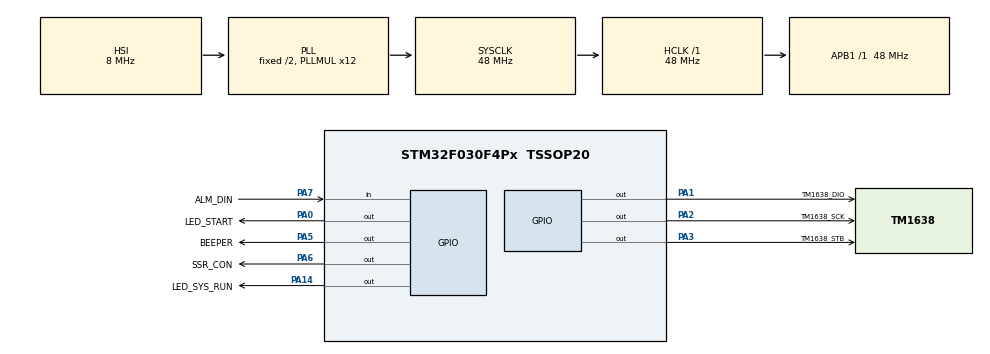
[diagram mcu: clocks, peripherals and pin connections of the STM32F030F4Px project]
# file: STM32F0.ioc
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FREERTOS.BinarySemaphores01=myBinarySem01,Dynamic,NULL;myBinarySem02,Dynamic,NULL
FREERTOS.CountingSemaphores01=myCountingSem01,1,Dynamic,NULL;myCountingSem02,2,Dynamic,NULL
FREERTOS.Mutexes01=myMutex01,Dynamic,NULL;myMutex02,Dynamic,NULL
FREERTOS.Tasks01=defaultTask,0,64,StartDefaultTask,Default,NULL,Dynamic,NULL,NULL;myTask01,1,64,sysControl,Default,NULL,Dynamic,NULL,NULL;myTask02,-3,64,segDisplay,Default,NULL,Dynamic,NULL,NULL
FREERTOS.configMINIMAL_STACK_SIZE=64
FREERTOS.configTOTAL_HEAP_SIZE=2048
FREERTOS.configUSE_COUNTING_SEMAPHORES=1
Mcu.Family=STM32F0
Mcu.Name=STM32F030F4Px
Mcu.Package=TSSOP20
NVIC.TIM1_BRK_UP_TRG_COM_IRQn=true\:0\:0\:false\:false\:true\:false
NVIC.TimeBase=TIM1_BRK_UP_TRG_COM_IRQn
NVIC.TimeBaseIP=TIM1
PA0.GPIO_Label=LED_START
PA0.GPIO_Speed=GPIO_SPEED_FREQ_HIGH
PA0.Signal=GPIO_Output
PA1.GPIO_Label=TM1638_DIO
PA1.GPIO_Speed=GPIO_SPEED_FREQ_HIGH
PA1.PinState=GPIO_PIN_SET
PA1.Signal=GPIO_Output
PA14.GPIO_Label=LED_SYS_RUN
PA14.GPIO_Speed=GPIO_SPEED_FREQ_HIGH
PA14.Signal=GPIO_Output
PA2.GPIO_Label=TM1638_SCK
PA2.GPIO_Speed=GPIO_SPEED_FREQ_HIGH
PA2.PinState=GPIO_PIN_SET
PA2.Signal=GPIO_Output
PA3.GPIO_Label=TM1638_STB
PA3.GPIO_Speed=GPIO_SPEED_FREQ_HIGH
PA3.PinState=GPIO_PIN_SET
PA3.Signal=GPIO_Output
PA5.GPIO_Label=BEEPER
PA5.GPIO_Speed=GPIO_SPEED_FREQ_HIGH
PA5.Signal=GPIO_Output
PA6.GPIO_Label=SSR_CON
PA6.GPIO_Speed=GPIO_SPEED_FREQ_HIGH
PA6.Signal=GPIO_Output
PA7.GPIO_Label=ALM_DIN
PA7.GPIO_PuPd=GPIO_PULLUP
PA7.Signal=GPIO_Input
ProjectManager.HeapSize=0x200
ProjectManager.StackSize=0x400
ProjectManager.TargetToolchain=MDK-ARM V5
RCC.AHBFreq_Value=48000000
RCC.APB1Freq_Value=48000000
RCC.APB1TimFreq_Value=48000000
RCC.HCLKFreq_Value=48000000
RCC.PLLMUL=RCC_PLL_MUL12
RCC.SYSCLKFreq_VALUE=48000000
RCC.SYSCLKSource=RCC_SYSCLKSOURCE_PLLCLK
VP_FREERTOS_VS_ENABLE.Mode=Enabled
VP_IWDG_VS_IWDG.Mode=IWDG_Activate
VP_SYS_VS_tim1.Mode=TIM1
board=STM32F0

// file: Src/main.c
/**
  ******************************************************************************
  * File Name          : main.c
  * Description        : Main program body
  ******************************************************************************
  * This notice applies to any and all portions of this file
  * that are not between comment pairs USER CODE BEGIN and
  * USER CODE END. Other portions of this file, whether
  * inserted by the user or by software development tools
  * are owned by their respective copyright owners.
  *
  * Copyright (c) 2017 STMicroelectronics International N.V.
  * All rights reserved.
  *
  * Redistribution and use in source and binary forms, with or without
  * modification, are permitted, provided that the following conditions are met:
  *
  * 1. Redistribution of source code must retain the above copyright notice,
  *    this list of conditions and the following disclaimer.
  * 2. Redistributions in binary form must reproduce the above copyright notice,
  *    this list of conditions and the following disclaimer in the documentation
  *    and/or other materials provided with the distribution.
  * 3. Neither the name of STMicroelectronics nor the names of other
  *    contributors to this software may be used to endorse or promote products
  *    derived from this software without specific written permission.
  * 4. This software, including modifications and/or derivative works of this
  *    software, must execute solely and exclusively on microcontroller or
  *    microprocessor devices manufactured by or for STMicroelectronics.
  * 5. Redistribution and use of this software other than as permitted under
  *    this license is void and will automatically terminate your rights under
  *    this license.
  *
  * THIS SOFTWARE IS PROVIDED BY STMICROELECTRONICS AND CONTRIBUTORS "AS IS"
  * AND ANY EXPRESS, IMPLIED OR STATUTORY WARRANTIES, INCLUDING, BUT NOT
  * LIMITED TO, THE IMPLIED WARRANTIES OF MERCHANTABILITY, FITNESS FOR A
  * PARTICULAR PURPOSE AND NON-INFRINGEMENT OF THIRD PARTY INTELLECTUAL PROPERTY
  * RIGHTS ARE DISCLAIMED TO THE FULLEST EXTENT PERMITTED BY LAW. IN NO EVENT
  * SHALL STMICROELECTRONICS OR CONTRIBUTORS BE LIABLE FOR ANY DIRECT, INDIRECT,
  * INCIDENTAL, SPECIAL, EXEMPLARY, OR CONSEQUENTIAL DAMAGES (INCLUDING, BUT NOT
  * LIMITED TO, PROCUREMENT OF SUBSTITUTE GOODS OR SERVICES; LOSS OF USE, DATA,
  * OR PROFITS; OR BUSINESS INTERRUPTION) HOWEVER CAUSED AND ON ANY THEORY OF
  * LIABILITY, WHETHER IN CONTRACT, STRICT LIABILITY, OR TORT (INCLUDING
  * NEGLIGENCE OR OTHERWISE) ARISING IN ANY WAY OUT OF THE USE OF THIS SOFTWARE,
  * EVEN IF ADVISED OF THE POSSIBILITY OF SUCH DAMAGE.
  *
  ******************************************************************************
  */
#include "main.h"
#include "stm32f0xx_hal.h"
#include "cmsis_os.h"
#include "iwdg.h"
#include "gpio.h"

/* USER CODE BEGIN Includes */
#include "tm1638.h"
/* USER CODE END Includes */

/* USER CODE BEGIN PV */
/* Private variables ---------------------------------------------------------*/

/* USER CODE END PV */

void SystemClock_Config(void);
void MX_FREERTOS_Init(void);

/* USER CODE BEGIN PFP */
/* Private function prototypes -----------------------------------------------*/

/* USER CODE END PFP */

int main(void)
{

  /* MCU Configuration----------------------------------------------------------*/

  /* Reset of all peripherals, Initializes the Flash interface and the Systick. */
  HAL_Init();

  /* Configure the system clock */
  SystemClock_Config();

  /* Initialize all configured peripherals */
  MX_GPIO_Init();
  MX_IWDG_Init();

  /* USER CODE BEGIN 2 */
	BEEP_OFF();
	SSR_OFF();

	TM1638_init();
  /* USER CODE END 2 */

  /* Call init function for freertos objects (in freertos.c) */
  MX_FREERTOS_Init();

  /* Start scheduler */
  osKernelStart();

  /* We should never get here as control is now taken by the scheduler */

  /* Infinite loop */
  while (1)
  {

  }

}

/** System Clock Configuration
*/
void SystemClock_Config(void)
{

  RCC_OscInitTypeDef RCC_OscInitStruct;
  RCC_ClkInitTypeDef RCC_ClkInitStruct;

    /**Initializes the CPU, AHB and APB busses clocks
    */
  RCC_OscInitStruct.OscillatorType = RCC_OSCILLATORTYPE_HSI|RCC_OSCILLATORTYPE_LSI;
  RCC_OscInitStruct.HSIState = RCC_HSI_ON;
  RCC_OscInitStruct.HSICalibrationValue = 16;
  RCC_OscInitStruct.LSIState = RCC_LSI_ON;
  RCC_OscInitStruct.PLL.PLLState = RCC_PLL_ON;
  RCC_OscInitStruct.PLL.PLLSource = RCC_PLLSOURCE_HSI;
  RCC_OscInitStruct.PLL.PLLMUL = RCC_PLL_MUL12;
  RCC_OscInitStruct.PLL.PREDIV = RCC_PREDIV_DIV1;
  if (HAL_RCC_OscConfig(&RCC_OscInitStruct) != HAL_OK)
  {
    _Error_Handler(__FILE__, __LINE__);
  }

    /**Initializes the CPU, AHB and APB busses clocks
    */
  RCC_ClkInitStruct.ClockType = RCC_CLOCKTYPE_HCLK|RCC_CLOCKTYPE_SYSCLK
                              |RCC_CLOCKTYPE_PCLK1;
  RCC_ClkInitStruct.SYSCLKSource = RCC_SYSCLKSOURCE_PLLCLK;
  RCC_ClkInitStruct.AHBCLKDivider = RCC_SYSCLK_DIV1;
  RCC_ClkInitStruct.APB1CLKDivider = RCC_HCLK_DIV1;

  if (HAL_RCC_ClockConfig(&RCC_ClkInitStruct, FLASH_LATENCY_1) != HAL_OK)
  {
    _Error_Handler(__FILE__, __LINE__);
  }

    /**Configure the Systick interrupt time
    */
  HAL_SYSTICK_Config(HAL_RCC_GetHCLKFreq()/1000);

    /**Configure the Systick
    */
  HAL_SYSTICK_CLKSourceConfig(SYSTICK_CLKSOURCE_HCLK);

  /* SysTick_IRQn interrupt configuration */
  HAL_NVIC_SetPriority(SysTick_IRQn, 3, 0);
}

void HAL_TIM_PeriodElapsedCallback(TIM_HandleTypeDef *htim)
{
  if (htim->Instance == TIM1) {
    HAL_IncTick();
  }
}

void _Error_Handler(char * file, int line)
{
  while(1)
  {
  }
}

/************************ (C) COPYRIGHT STMicroelectronics *****END OF FILE****/

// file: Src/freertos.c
/**
  ******************************************************************************
  * File Name          : freertos.c
  * Description        : Code for freertos applications
  ******************************************************************************
  * This notice applies to any and all portions of this file
  * that are not between comment pairs USER CODE BEGIN and
  * USER CODE END. Other portions of this file, whether
  * inserted by the user or by software development tools
  * are owned by their respective copyright owners.
  *
  * Copyright (c) 2017 STMicroelectronics International N.V.
  * All rights reserved.
  *
  * Redistribution and use in source and binary forms, with or without
  * modification, are permitted, provided that the following conditions are met:
  *
  * 1. Redistribution of source code must retain the above copyright notice,
  *    this list of conditions and the following disclaimer.
  * 2. Redistributions in binary form must reproduce the above copyright notice,
  *    this list of conditions and the following disclaimer in the documentation
  *    and/or other materials provided with the distribution.
  * 3. Neither the name of STMicroelectronics nor the names of other
  *    contributors to this software may be used to endorse or promote products
  *    derived from this software without specific written permission.
  * 4. This software, including modifications and/or derivative works of this
  *    software, must execute solely and exclusively on microcontroller or
  *    microprocessor devices manufactured by or for STMicroelectronics.
  * 5. Redistribution and use of this software other than as permitted under
  *    this license is void and will automatically terminate your rights under
  *    this license.
  *
  * THIS SOFTWARE IS PROVIDED BY STMICROELECTRONICS AND CONTRIBUTORS "AS IS"
  * AND ANY EXPRESS, IMPLIED OR STATUTORY WARRANTIES, INCLUDING, BUT NOT
  * LIMITED TO, THE IMPLIED WARRANTIES OF MERCHANTABILITY, FITNESS FOR A
  * PARTICULAR PURPOSE AND NON-INFRINGEMENT OF THIRD PARTY INTELLECTUAL PROPERTY
  * RIGHTS ARE DISCLAIMED TO THE FULLEST EXTENT PERMITTED BY LAW. IN NO EVENT
  * SHALL STMICROELECTRONICS OR CONTRIBUTORS BE LIABLE FOR ANY DIRECT, INDIRECT,
  * INCIDENTAL, SPECIAL, EXEMPLARY, OR CONSEQUENTIAL DAMAGES (INCLUDING, BUT NOT
  * LIMITED TO, PROCUREMENT OF SUBSTITUTE GOODS OR SERVICES; LOSS OF USE, DATA,
  * OR PROFITS; OR BUSINESS INTERRUPTION) HOWEVER CAUSED AND ON ANY THEORY OF
  * LIABILITY, WHETHER IN CONTRACT, STRICT LIABILITY, OR TORT (INCLUDING
  * NEGLIGENCE OR OTHERWISE) ARISING IN ANY WAY OUT OF THE USE OF THIS SOFTWARE,
  * EVEN IF ADVISED OF THE POSSIBILITY OF SUCH DAMAGE.
  *
  ******************************************************************************
  */

#include "FreeRTOS.h"
#include "task.h"
#include "cmsis_os.h"

/* USER CODE BEGIN Includes */
#include "TM1638.h"
/* USER CODE END Includes */

osThreadId defaultTaskHandle;
osThreadId myTask01Handle;
osThreadId myTask02Handle;
osMutexId myMutex01Handle;
osMutexId myMutex02Handle;
osSemaphoreId myBinarySem01Handle;
osSemaphoreId myBinarySem02Handle;
osSemaphoreId myCountingSem01Handle;
osSemaphoreId myCountingSem02Handle;

/* USER CODE BEGIN Variables */
extern  IWDG_HandleTypeDef hiwdg;
/* USER CODE END Variables */

void StartDefaultTask(void const * argument);
void sysControl(void const * argument);
void segDisplay(void const * argument);

void MX_FREERTOS_Init(void); /* (MISRA C 2004 rule 8.1) */

/* Hook prototypes */

/* Init FreeRTOS */

void MX_FREERTOS_Init(void) {

  /* Create the mutex(es) */
  /* definition and creation of myMutex01 */
  osMutexDef(myMutex01);
  myMutex01Handle = osMutexCreate(osMutex(myMutex01));

  /* definition and creation of myMutex02 */
  osMutexDef(myMutex02);
  myMutex02Handle = osMutexCreate(osMutex(myMutex02));

  /* Create the semaphores(s) */
  /* definition and creation of myBinarySem01 */
  osSemaphoreDef(myBinarySem01);
  myBinarySem01Handle = osSemaphoreCreate(osSemaphore(myBinarySem01), 1);

  /* definition and creation of myBinarySem02 */
  osSemaphoreDef(myBinarySem02);
  myBinarySem02Handle = osSemaphoreCreate(osSemaphore(myBinarySem02), 1);

  /* definition and creation of myCountingSem01 */
  osSemaphoreDef(myCountingSem01);
  myCountingSem01Handle = osSemaphoreCreate(osSemaphore(myCountingSem01), 1);

  /* definition and creation of myCountingSem02 */
  osSemaphoreDef(myCountingSem02);
  myCountingSem02Handle = osSemaphoreCreate(osSemaphore(myCountingSem02), 2);

  /* Create the thread(s) */
  /* definition and creation of defaultTask */
  osThreadDef(defaultTask, StartDefaultTask, osPriorityNormal, 0, 64);
  defaultTaskHandle = osThreadCreate(osThread(defaultTask), NULL);

  /* definition and creation of myTask01 */
  osThreadDef(myTask01, sysControl, osPriorityAboveNormal, 0, 64);
  myTask01Handle = osThreadCreate(osThread(myTask01), NULL);

  /* definition and creation of myTask02 */
  osThreadDef(myTask02, segDisplay, osPriorityIdle, 0, 64);
  myTask02Handle = osThreadCreate(osThread(myTask02), NULL);

}

/* StartDefaultTask function */
void StartDefaultTask(void const * argument)
{

  /* USER CODE BEGIN StartDefaultTask */
  /* Infinite loop */
  for(;;)
  {
		SYS_LED_BLINK();
		HAL_IWDG_Refresh(&hiwdg);
		osDelay(200);
  }
  /* USER CODE END StartDefaultTask */
}

/* sysControl function */
void sysControl(void const * argument)
{
  /* USER CODE BEGIN sysControl */
  /* Infinite loop */
  for(;;)
  {
		KeyScan(TM1638_getKey());
    osDelay(2);
  }
  /* USER CODE END sysControl */
}

/* segDisplay function */
void segDisplay(void const * argument)
{
  /* USER CODE BEGIN segDisplay */
  /* Infinite loop */
  for(;;)
  {
		KeyProcess();
		if(segDigit4_BlinkBit==0)
		{
			TM1638_DisplayValue(CurrentTimeVaule);
			osDelay(50);
		}
		else
		{
			DIGIT4_SEG7_Display(segDigit4_BlinkBit,CurrentTimeVaule);
			osDelay(200);
			TM1638_DisplayValue(CurrentTimeVaule);
			osDelay(200);
		}
  }
  /* USER CODE END segDisplay */
}

/************************ (C) COPYRIGHT STMicroelectronics *****END OF FILE****/
